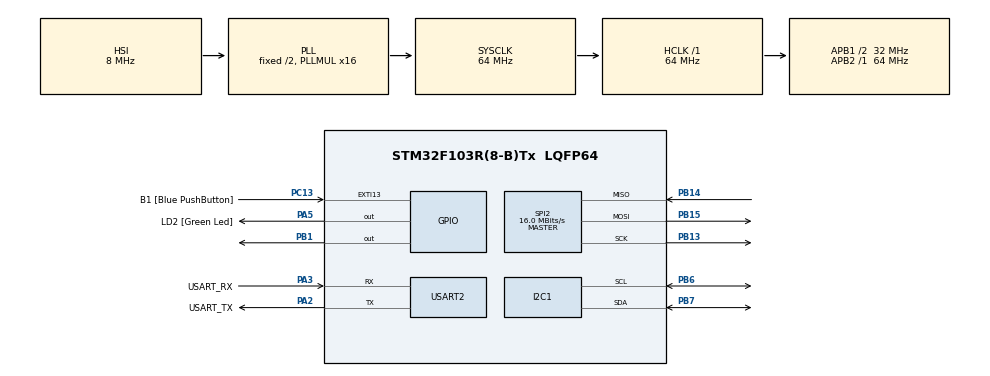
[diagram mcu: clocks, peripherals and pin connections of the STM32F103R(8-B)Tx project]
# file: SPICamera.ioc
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Mcu.Family=STM32F1
Mcu.Name=STM32F103R(8-B)Tx
Mcu.Package=LQFP64
NVIC.EXTI15_10_IRQn=true\:0\:0\:false\:false\:true\:true\:true\:true
NVIC.PriorityGroup=NVIC_PRIORITYGROUP_4
PA13.GPIO_Label=TMS
PA13.Mode=Serial_Wire
PA13.Signal=SYS_JTMS-SWDIO
PA14.GPIO_Label=TCK
PA14.Mode=Serial_Wire
PA14.Signal=SYS_JTCK-SWCLK
PA2.GPIO_Label=USART_TX
PA2.GPIO_Mode=GPIO_MODE_AF_PP
PA2.GPIO_PuPd=GPIO_NOPULL
PA2.GPIO_Speed=GPIO_SPEED_FREQ_LOW
PA2.Mode=Asynchronous
PA2.Signal=USART2_TX
PA3.GPIO_Label=USART_RX
PA3.GPIO_Mode=GPIO_MODE_AF_PP
PA3.GPIO_PuPd=GPIO_NOPULL
PA3.GPIO_Speed=GPIO_SPEED_FREQ_LOW
PA3.Mode=Asynchronous
PA3.Signal=USART2_RX
PA5.GPIO_Label=LD2 [Green Led]
PA5.GPIO_ModeDefaultOutputPP=GPIO_MODE_OUTPUT_PP
PA5.GPIO_PuPd=GPIO_NOPULL
PA5.GPIO_Speed=GPIO_SPEED_FREQ_LOW
PA5.Signal=GPIO_Output
PB1.Signal=GPIO_Output
PB13.Mode=Full_Duplex_Master
PB13.Signal=SPI2_SCK
PB14.Mode=Full_Duplex_Master
PB14.Signal=SPI2_MISO
PB15.Mode=Full_Duplex_Master
PB15.Signal=SPI2_MOSI
PB3.GPIO_Label=SWO
PB3.Signal=SYS_JTDO-TRACESWO
PB6.Mode=I2C
PB6.Signal=I2C1_SCL
PB7.Mode=I2C
PB7.Signal=I2C1_SDA
PC13-TAMPER-RTC.GPIO_Label=B1 [Blue PushButton]
PC13-TAMPER-RTC.GPIO_PuPd=GPIO_NOPULL
PC13-TAMPER-RTC.Signal=GPXTI13
PC14-OSC32_IN.Mode=LSE-External-Oscillator
PC14-OSC32_IN.Signal=RCC_OSC32_IN
PC15-OSC32_OUT.Mode=LSE-External-Oscillator
PC15-OSC32_OUT.Signal=RCC_OSC32_OUT
PD0-OSC_IN.Mode=HSE-External-Clock-Source
PD0-OSC_IN.Signal=RCC_OSC_IN
PD1-OSC_OUT.Mode=HSE-External-Clock-Source
PD1-OSC_OUT.Signal=RCC_OSC_OUT
ProjectManager.HeapSize=0x200
ProjectManager.StackSize=0x400
ProjectManager.TargetToolchain=STM32CubeIDE
RCC.AHBFreq_Value=64000000
RCC.APB1CLKDivider=RCC_HCLK_DIV2
RCC.APB1Freq_Value=32000000
RCC.APB1TimFreq_Value=64000000
RCC.APB2Freq_Value=64000000
RCC.APB2TimFreq_Value=64000000
RCC.HCLKFreq_Value=64000000
RCC.PLLMUL=RCC_PLL_MUL16
RCC.RTCClockSelection=RCC_RTCCLKSOURCE_LSE
RCC.SYSCLKFreq_VALUE=64000000
RCC.SYSCLKSource=RCC_SYSCLKSOURCE_PLLCLK
RCC.USBFreq_Value=64000000
SPI2.CalculateBaudRate=16.0 MBits/s
SPI2.Direction=SPI_DIRECTION_2LINES
SPI2.Mode=SPI_MODE_MASTER
SPI2.VirtualType=VM_MASTER
USART2.VirtualMode=VM_ASYNC
board=NUCLEO-F103RB

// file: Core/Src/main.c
/* USER CODE BEGIN Header */
/**
 ******************************************************************************
 * @file           : main.c
 * @brief          : Main program body
 ******************************************************************************
 * @attention
 *
 * Copyright (c) 2023 STMicroelectronics.
 * All rights reserved.
 *
 * This software is licensed under terms that can be found in the LICENSE file
 * in the root directory of this software component.
 * If no LICENSE file comes with this software, it is provided AS-IS.
 *
 ******************************************************************************
 */
/* USER CODE END Header */
#include "main.h"
#include <string.h>
#include <stdlib.h>
#include <math.h>
#include <ov2640_regs.h>

/* USER CODE BEGIN PTD */
#define BMP 	0
#define JPEG	1
#define RAW	  2

#define Auto                 0
#define Sunny                1
#define Cloudy               2
#define Office               3
#define Home                 4

//Special effects

#define Antique                      0
#define Bluish                       1
#define Greenish                     2
#define Reddish                      3
#define BW                           4
#define Negative                     5
#define BWnegative                   6
#define Normal                       7
#define Sepia                        8
#define Overexposure                 9
#define Solarize                     10
#define  Blueish                     11
#define Yellowish                    12

#define OV2640_160x120 		0	//160x120
#define OV2640_176x144 		1	//176x144
#define OV2640_320x240 		2	//320x240
#define OV2640_352x288 		3	//352x288
#define OV2640_640x480		4	//640x480
#define OV2640_800x600 		5	//800x600
#define OV2640_1024x768		6	//1024x768
#define OV2640_1280x1024	7	//1280x1024
#define OV2640_1600x1200	8	//1600x1200

uint8_t format = RAW;
uint8_t resolution = OV2640_160x120;
uint8_t Light_Mode = Auto;
/* USER CODE END PTD */

/* USER CODE BEGIN PD */
static const uint8_t CLPD_reg = 0x07;
static const uint8_t test_reg = 0x00;
static const uint8_t Sensor_interface_timing_reg = 0x02;
static const uint16_t Sensor_addr_write = 0x60;
static const uint16_t Sensor_addr_read = 0x61;
static const uint16_t OV2640_CHIPID_HIGH = 0x0A;
static const uint16_t OV2640_CHIPID_LOW = 0x0B;

#define ARDUCHIP_FIFO      		0x04  //FIFO and I2C control
#define FIFO_CLEAR_MASK    		0x01
#define FIFO_START_MASK    		0x02

#define FIFO_SIZE1				0x42  //Camera write FIFO size[7:0] for burst to read
#define FIFO_SIZE2				0x43  //Camera write FIFO size[15:8]
#define FIFO_SIZE3				0x44  //Camera write FIFO size[18:16]
#define MAX_FIFO_SIZE			0x7FFFFF		//8MByte

#define BURST_FIFO_READ			0x3C  //Burst FIFO read operation
#define SINGLE_FIFO_READ		0x3D  //Single FIFO read operation

#define ARDUCHIP_TRIG      		0x41  //Trigger source
#define CAP_DONE_MASK      		0x08

int capture = 0;

/* USER CODE END PD */

/* USER CODE BEGIN PM */
#define pgm_read_word(x)        ( ((*((unsigned char *)x + 1)) << 8) + (*((unsigned char *)x)))
/* USER CODE END PM */

I2C_HandleTypeDef hi2c1;

SPI_HandleTypeDef hspi2;

UART_HandleTypeDef huart2;

/* USER CODE BEGIN PV */
uint8_t count = 0;

/* USER CODE END PV */

void SystemClock_Config(void);
static void MX_GPIO_Init(void);
static void MX_USART2_UART_Init(void);
static void MX_I2C1_Init(void);
static void MX_SPI2_Init(void);

/* USER CODE BEGIN 0 */
void newline() {
	uint8_t buf[12];
	strcpy((char*) buf, "	\r\n");
	HAL_UART_Transmit(&huart2, buf, strlen((char*) buf), 100);
	memset(buf, 0, sizeof(buf));
}
void print_string(const char *a) {
	uint8_t buf[100];
	strncpy((char*) buf, a, sizeof(buf));
	buf[sizeof(buf) - 1] = '\0';
	HAL_UART_Transmit(&huart2, (uint8_t*) buf, strlen((char*) buf), 100);
	memset(buf, 0, sizeof(buf));
}

void space() {
	uint8_t buf[12];
	strcpy((char*) buf, "	");
	HAL_UART_Transmit(&huart2, buf, strlen((char*) buf), 100);
	memset(buf, 0, sizeof(buf));
}

void print_hex(char h) {
	int i;
	char nibble;
	for (i = 1; i >= 0; i--) {
		nibble = ((h >> (4 * i)) & 0x0F);
		if (nibble < 10) { //decimal number
			nibble += 48;
			HAL_UART_Transmit(&huart2, (uint8_t*) &nibble, sizeof(nibble), 10);
		} else { //letter
			nibble += 55;
			HAL_UART_Transmit(&huart2, (uint8_t*) &nibble, sizeof(nibble), 10);
		}
	}
	//space();
	//memset(nibble, 0, sizeof(nibble));
}

void print_decimal(const long long data, const unsigned char len) {
	int i;
	char nibble;
	for (i = (len - 1); i >= 0; i--) {
		nibble = ((int) (data / pow(10, i)) % 10) + 48;
		HAL_UART_Transmit(&huart2, (uint8_t*) &nibble, sizeof(nibble), 10);
	}
}

void send_buffer(uint8_t *buffer, uint32_t buffer_length) {
	for (int i = 0; i < buffer_length; i++) {
		//HAL_UART_Transmit(&huart2, &buffer[i], 1, HAL_MAX_DELAY);
		print_hex(buffer[i]);
	}
}

void count_init() {
	count++;
	print_decimal(count, 3);
	space();
}

char SPI_Read(uint8_t address) {
	char data;
	address = address & 0x7F;
	HAL_GPIO_WritePin(GPIOB, GPIO_PIN_1, GPIO_PIN_SET);
	HAL_GPIO_WritePin(GPIOB, GPIO_PIN_1, GPIO_PIN_RESET);
	HAL_SPI_Transmit(&hspi2, (uint8_t*) &(address), 1, 100);
	HAL_SPI_Receive(&hspi2, (uint8_t*) &data, 1, 100);
	HAL_GPIO_WritePin(GPIOB, GPIO_PIN_1, GPIO_PIN_SET);
	return data;
}

void Read_SPI_Regs(uint8_t start_add, uint8_t end_add) {
	uint8_t i;;
	for(i = start_add; i <= end_add; i++){
		print_hex(i);
		print_string(": ");
		print_hex(SPI_Read(i));
		newline();
	}
}

char SPI_Transfer_FIFO(uint8_t address) {
	char data;
	address = address & 0x7F;
	HAL_SPI_TransmitReceive(&hspi2, (uint8_t*) &(address), (uint8_t*) &data, 1,
			100);
	return data;
}

void SPI_Write(uint8_t address, uint8_t data) {
	address = address | 0x80;
	HAL_GPIO_WritePin(GPIOB, GPIO_PIN_1, GPIO_PIN_SET);
	HAL_GPIO_WritePin(GPIOB, GPIO_PIN_1, GPIO_PIN_RESET);
	HAL_SPI_Transmit(&hspi2, (uint8_t*) &(address), 1, 100);
	HAL_SPI_Transmit(&hspi2, (uint8_t*) &(data), 1, 100);
	HAL_GPIO_WritePin(GPIOB, GPIO_PIN_1, GPIO_PIN_SET);
}

char I2C_Read(uint16_t address, uint16_t reg) {
	uint8_t data;
	HAL_I2C_Mem_Read(&hi2c1, address, reg & 0x00FF, 1, &data, 1, 1000);
	return data;
}

void I2C_Write(uint16_t address, uint16_t reg, uint8_t data) {
	data = data & 0x00FF;
	HAL_I2C_Mem_Write(&hi2c1, address, reg & 0x00FF, 1, &data, 1, 1000);
}

void I2C_Write_sensor_reg(const struct sensor_reg reglist[]) {
	uint16_t reg_addr = 0;
	uint16_t reg_val = 0;
	const struct sensor_reg *next = reglist;
	while ((reg_addr != 0xff) | (reg_val != 0xff)) {
		reg_addr = pgm_read_word(&next->reg);
		reg_val = pgm_read_word(&next->val);
		I2C_Write(Sensor_addr_write, reg_addr, reg_val);
//	    print_hex(reg_addr);
//	    print_string(": ");
//	    print_hex(I2C_Read(Sensor_addr_read, reg_addr));
//	    newline();
		next++;
	}
}

void OV2640_set_JPEG_size(uint8_t size) {
	switch (size) {
	case OV2640_160x120:
		I2C_Write_sensor_reg(OV2640_160x120_JPEG);
		break;
	case OV2640_176x144:
		I2C_Write_sensor_reg(OV2640_176x144_JPEG);
		break;
	case OV2640_320x240:
		I2C_Write_sensor_reg(OV2640_320x240_JPEG);
		break;
	case OV2640_352x288:
		I2C_Write_sensor_reg(OV2640_352x288_JPEG);
		break;
	case OV2640_640x480:
		I2C_Write_sensor_reg(OV2640_640x480_JPEG);
		break;
	case OV2640_800x600:
		I2C_Write_sensor_reg(OV2640_800x600_JPEG);
		break;
	case OV2640_1024x768:
		I2C_Write_sensor_reg(OV2640_1024x768_JPEG);
		break;
	case OV2640_1280x1024:
		I2C_Write_sensor_reg(OV2640_1280x1024_JPEG);
		break;
	case OV2640_1600x1200:
		I2C_Write_sensor_reg(OV2640_1600x1200_JPEG);
		break;
	default:
		I2C_Write_sensor_reg(OV2640_320x240_JPEG);
		break;
	}
}

void OV2640_set_Light_Mode(uint8_t Light_Mode) {
	switch (Light_Mode) {

	case Auto:
		I2C_Write(Sensor_addr_write, 0xff, 0x00);
		I2C_Write(Sensor_addr_write, 0xc7, 0x00); //AWB on
		break;
	case Sunny:
		I2C_Write(Sensor_addr_write, 0xff, 0x00);
		I2C_Write(Sensor_addr_write, 0xc7, 0x40); //AWB off
		I2C_Write(Sensor_addr_write, 0xcc, 0x5e);
		I2C_Write(Sensor_addr_write, 0xcd, 0x41);
		I2C_Write(Sensor_addr_write, 0xce, 0x54);
		break;
	case Cloudy:
		I2C_Write(Sensor_addr_write, 0xff, 0x00);
		I2C_Write(Sensor_addr_write, 0xc7, 0x40); //AWB off
		I2C_Write(Sensor_addr_write, 0xcc, 0x65);
		I2C_Write(Sensor_addr_write, 0xcd, 0x41);
		I2C_Write(Sensor_addr_write, 0xce, 0x4f);
		break;
	case Office:
		I2C_Write(Sensor_addr_write, 0xff, 0x00);
		I2C_Write(Sensor_addr_write, 0xc7, 0x40); //AWB off
		I2C_Write(Sensor_addr_write, 0xcc, 0x52);
		I2C_Write(Sensor_addr_write, 0xcd, 0x41);
		I2C_Write(Sensor_addr_write, 0xce, 0x66);
		break;
	case Home:
		I2C_Write(Sensor_addr_write, 0xff, 0x00);
		I2C_Write(Sensor_addr_write, 0xc7, 0x40); //AWB off
		I2C_Write(Sensor_addr_write, 0xcc, 0x42);
		I2C_Write(Sensor_addr_write, 0xcd, 0x3f);
		I2C_Write(Sensor_addr_write, 0xce, 0x71);
		break;
	default:
		I2C_Write(Sensor_addr_write, 0xff, 0x00);
		I2C_Write(Sensor_addr_write, 0xc7, 0x00); //AWB on
		break;
	}
}

void OV2640_set_Special_effects(uint8_t Special_effect) {
	switch (Special_effect) {
	case Antique:
		I2C_Write(Sensor_addr_write, 0xff, 0x00);
		I2C_Write(Sensor_addr_write, 0x7c, 0x00);
		I2C_Write(Sensor_addr_write, 0x7d, 0x18);
		I2C_Write(Sensor_addr_write, 0x7c, 0x05);
		I2C_Write(Sensor_addr_write, 0x7d, 0x40);
		I2C_Write(Sensor_addr_write, 0x7d, 0xa6);
		break;
	case Bluish:
		I2C_Write(Sensor_addr_write, 0xff, 0x00);
		I2C_Write(Sensor_addr_write, 0x7c, 0x00);
		I2C_Write(Sensor_addr_write, 0x7d, 0x18);
		I2C_Write(Sensor_addr_write, 0x7c, 0x05);
		I2C_Write(Sensor_addr_write, 0x7d, 0xa0);
		I2C_Write(Sensor_addr_write, 0x7d, 0x40);
		break;
	case Greenish:
		I2C_Write(Sensor_addr_write, 0xff, 0x00);
		I2C_Write(Sensor_addr_write, 0x7c, 0x00);
		I2C_Write(Sensor_addr_write, 0x7d, 0x18);
		I2C_Write(Sensor_addr_write, 0x7c, 0x05);
		I2C_Write(Sensor_addr_write, 0x7d, 0x40);
		I2C_Write(Sensor_addr_write, 0x7d, 0x40);
		break;
	case Reddish:
		I2C_Write(Sensor_addr_write, 0xff, 0x00);
		I2C_Write(Sensor_addr_write, 0x7c, 0x00);
		I2C_Write(Sensor_addr_write, 0x7d, 0x18);
		I2C_Write(Sensor_addr_write, 0x7c, 0x05);
		I2C_Write(Sensor_addr_write, 0x7d, 0x40);
		I2C_Write(Sensor_addr_write, 0x7d, 0xc0);
		break;
	case BW:
		I2C_Write(Sensor_addr_write, 0xff, 0x00);
		I2C_Write(Sensor_addr_write, 0x7c, 0x00);
		I2C_Write(Sensor_addr_write, 0x7d, 0x18);
		I2C_Write(Sensor_addr_write, 0x7c, 0x05);
		I2C_Write(Sensor_addr_write, 0x7d, 0x80);
		I2C_Write(Sensor_addr_write, 0x7d, 0x80);
		break;
	case Negative:
		I2C_Write(Sensor_addr_write, 0xff, 0x00);
		I2C_Write(Sensor_addr_write, 0x7c, 0x00);
		I2C_Write(Sensor_addr_write, 0x7d, 0x40);
		I2C_Write(Sensor_addr_write, 0x7c, 0x05);
		I2C_Write(Sensor_addr_write, 0x7d, 0x80);
		I2C_Write(Sensor_addr_write, 0x7d, 0x80);
		break;
	case BWnegative:
		I2C_Write(Sensor_addr_write, 0xff, 0x00);
		I2C_Write(Sensor_addr_write, 0x7c, 0x00);
		I2C_Write(Sensor_addr_write, 0x7d, 0x58);
		I2C_Write(Sensor_addr_write, 0x7c, 0x05);
		I2C_Write(Sensor_addr_write, 0x7d, 0x80);
		I2C_Write(Sensor_addr_write, 0x7d, 0x80);
		break;
	case Normal:
		I2C_Write(Sensor_addr_write, 0xff, 0x00);
		I2C_Write(Sensor_addr_write, 0x7c, 0x00);
		I2C_Write(Sensor_addr_write, 0x7d, 0x00);
		I2C_Write(Sensor_addr_write, 0x7c, 0x05);
		I2C_Write(Sensor_addr_write, 0x7d, 0x80);
		I2C_Write(Sensor_addr_write, 0x7d, 0x80);
		break;
	}
}

void InitCAM() {
	I2C_Write(Sensor_addr_write, 0xFF, 0x01);
	//	print_string("0xFF: ");
	//	print_hex(I2C_Read(Sensor_addr_read, 0xFF));
	I2C_Write(Sensor_addr_write, 0x12, 0x80);	//reset common control
	HAL_Delay(100);
	if (format == JPEG) {
		//		print_string("OV2640_JPEG_INIT");
		//		newline();
		I2C_Write_sensor_reg(OV2640_JPEG_INIT);
		I2C_Write_sensor_reg(OV2640_YUV422);
		I2C_Write_sensor_reg(OV2640_JPEG);
		I2C_Write(Sensor_addr_write, 0xff, 0x01);
		I2C_Write(Sensor_addr_write, 0x15, 0x00);
		I2C_Write_sensor_reg(OV2640_320x240_JPEG);
	} else {
		I2C_Write_sensor_reg(OV2640_QVGA);
	}
}

int OV2640_init() {
	//Reset CPLD
	SPI_Write(CLPD_reg, 0x80);
	SPI_Write(CLPD_reg, 0x00);
	// Check if the ArduCAM SPI bus is OK
	SPI_Write(test_reg, 0x55);
//	print_string("test reg: ");
//	print_hex(SPI_Read(test_reg));
	if (SPI_Read(test_reg) != 0x55) {
		return 0;
	}
	//change MCU to display LCD
	SPI_Write(Sensor_interface_timing_reg, 0x00);
	//	  print_string("Sensor_interface_timing_reg: ");
	//	  print_hex(SPI_Read(Sensor_interface_timing_reg));
	//check if its the OV2640
	// Check if the camera module type is OV2640
	I2C_Write(Sensor_addr_write, 0xFF, 0x01);
	//	  	print_string("sensor write: ");
	//	  	print_hex(I2C_Read(Sensor_addr_read, 0xFF));
	uint8_t vid, pid;
	vid = I2C_Read(Sensor_addr_read, OV2640_CHIPID_HIGH);
	pid = I2C_Read(Sensor_addr_read, OV2640_CHIPID_LOW);
	if ((vid != 0x26) && ((pid != 0x41) || (pid != 0x42))) {
		return 0;
	}
//	print_string("vid: ");
//	print_hex(vid);
//	print_string("pid: ");
//	print_hex(pid);

	InitCAM();
	OV2640_set_JPEG_size(resolution);
	OV2640_set_Light_Mode(Light_Mode);
	OV2640_set_Special_effects(Normal);
	HAL_Delay(1000);
	return 1;
}

void start_capture() {
	print_string("Starting image capture...");
	newline();
	SPI_Write(ARDUCHIP_FIFO, FIFO_CLEAR_MASK);	//flush_fifo
	//print_hex(SPI_Read(ARDUCHIP_FIFO));
	SPI_Write(ARDUCHIP_FIFO, FIFO_CLEAR_MASK);	//clear fifo_flag
	//print_hex(SPI_Read(ARDUCHIP_FIFO));
	SPI_Write(ARDUCHIP_FIFO, FIFO_START_MASK);	//start capture
	//print_hex(SPI_Read(ARDUCHIP_FIFO));
	print_string("Image capture started!");
	newline();
}

int capture_ready() {
	uint8_t temp;
	temp = SPI_Read(ARDUCHIP_TRIG);
	temp = temp & CAP_DONE_MASK;
	return temp;
}

uint32_t read_fifo_length() {
	uint32_t len1, len2, len3, length = 0;
	len1 = SPI_Read(FIFO_SIZE1);
	len2 = SPI_Read(FIFO_SIZE2);
	len3 = SPI_Read(FIFO_SIZE3) & 0x7f;
	length = ((len3 << 16) | (len2 << 8) | len1) & 0x07fffff;
	return length;
}

int read_image_to_buffer(uint8_t **buffer, uint32_t *buffer_length) {
	if (!capture_ready()) {
		print_string("Image capture not ready\r\n");
		return 0;
	} else {
		print_string("Reading image to buffer...\r\n");
	}

	// Get the image file length
	uint32_t length = read_fifo_length();
	*buffer_length = length;

	if (length >= MAX_FIFO_SIZE) {
		print_string("length larger than MAX_FIFO_SIZE, buffer length: ");
		print_hex(length);
		return 0;
	}
	if (length == 0) {
		print_string("length is 0, buffer length: ");
		print_hex(length);
		return 0;
	}

	// create the buffer
	uint8_t *buf = (uint8_t*) malloc(length * sizeof(uint8_t));

	uint8_t temp = 0;

	HAL_GPIO_WritePin(GPIOB, GPIO_PIN_1, GPIO_PIN_RESET);
	SPI_Transfer_FIFO(BURST_FIFO_READ);

	while (length--) {
		temp = SPI_Transfer_FIFO(0x00);
		//Read JPEG data from FIFO
		print_hex(temp);
	}

	SPI_Write(ARDUCHIP_FIFO, FIFO_CLEAR_MASK);

	InitCAM();
	//OV2640_set_JPEG_size(resolution);

	// return the buffer
	*buffer = buf;

	return 1;
}

/* USER CODE END 0 */

int main(void) {

	/* MCU Configuration--------------------------------------------------------*/

	/* Reset of all peripherals, Initializes the Flash interface and the Systick. */
	HAL_Init();

	/* Configure the system clock */
	SystemClock_Config();

	/* Initialize all configured peripherals */
	MX_GPIO_Init();
	MX_USART2_UART_Init();
	MX_I2C1_Init();
	MX_SPI2_Init();

	/* Infinite loop */
	/* USER CODE BEGIN WHILE */
	OV2640_init();
	while (!OV2640_init()) {
		print_string("OV2640 not initialized");
		newline();
		HAL_Delay(1000);
	}
	capture = 1;
	print_string("OV2640 initialized");
	newline();
	Read_SPI_Regs(0x00, 0x48);
	while (1) {
		/* USER CODE END WHILE */
		count_init();
		newline();
		start_capture();
		while (!capture_ready()) {
			HAL_Delay(100);
			print_string("Capture is not ready...delaying...");
			newline();
		}
		print_string("Capture ready");
		newline();

		uint8_t *buffer;
		uint32_t length;

		print_string("Preparing to capture... ");
		if (read_image_to_buffer(&buffer, &length)) {
			print_string("\r\nlength: ");
			print_decimal(length, 8);
			print_string("\r\nImage read to buffer! ");
			print_string("Writing image to file...\r\n");
			//send_buffer(buffer, length);
			print_string("\r\nImage read to file");
		} else {
			print_string("Failed to read image");
		}

		newline();
		HAL_Delay(1000);

	}
}

void SystemClock_Config(void)
{
  RCC_OscInitTypeDef RCC_OscInitStruct = {0};
  RCC_ClkInitTypeDef RCC_ClkInitStruct = {0};

  /** Initializes the RCC Oscillators according to the specified parameters
  * in the RCC_OscInitTypeDef structure.
  */
  RCC_OscInitStruct.OscillatorType = RCC_OSCILLATORTYPE_HSI;
  RCC_OscInitStruct.HSIState = RCC_HSI_ON;
  RCC_OscInitStruct.HSICalibrationValue = RCC_HSICALIBRATION_DEFAULT;
  RCC_OscInitStruct.PLL.PLLState = RCC_PLL_ON;
  RCC_OscInitStruct.PLL.PLLSource = RCC_PLLSOURCE_HSI_DIV2;
  RCC_OscInitStruct.PLL.PLLMUL = RCC_PLL_MUL16;
  if (HAL_RCC_OscConfig(&RCC_OscInitStruct) != HAL_OK)
  {
    Error_Handler();
  }

  /** Initializes the CPU, AHB and APB buses clocks
  */
  RCC_ClkInitStruct.ClockType = RCC_CLOCKTYPE_HCLK|RCC_CLOCKTYPE_SYSCLK
                              |RCC_CLOCKTYPE_PCLK1|RCC_CLOCKTYPE_PCLK2;
  RCC_ClkInitStruct.SYSCLKSource = RCC_SYSCLKSOURCE_PLLCLK;
  RCC_ClkInitStruct.AHBCLKDivider = RCC_SYSCLK_DIV1;
  RCC_ClkInitStruct.APB1CLKDivider = RCC_HCLK_DIV2;
  RCC_ClkInitStruct.APB2CLKDivider = RCC_HCLK_DIV1;

  if (HAL_RCC_ClockConfig(&RCC_ClkInitStruct, FLASH_LATENCY_2) != HAL_OK)
  {
    Error_Handler();
  }
}

static void MX_I2C1_Init(void)
{

  hi2c1.Instance = I2C1;
  hi2c1.Init.ClockSpeed = 100000;
  hi2c1.Init.DutyCycle = I2C_DUTYCYCLE_2;
  hi2c1.Init.OwnAddress1 = 0;
  hi2c1.Init.AddressingMode = I2C_ADDRESSINGMODE_7BIT;
  hi2c1.Init.DualAddressMode = I2C_DUALADDRESS_DISABLE;
  hi2c1.Init.OwnAddress2 = 0;
  hi2c1.Init.GeneralCallMode = I2C_GENERALCALL_DISABLE;
  hi2c1.Init.NoStretchMode = I2C_NOSTRETCH_DISABLE;
  if (HAL_I2C_Init(&hi2c1) != HAL_OK)
  {
    Error_Handler();
  }

}

static void MX_SPI2_Init(void)
{

  /* SPI2 parameter configuration*/
  hspi2.Instance = SPI2;
  hspi2.Init.Mode = SPI_MODE_MASTER;
  hspi2.Init.Direction = SPI_DIRECTION_2LINES;
  hspi2.Init.DataSize = SPI_DATASIZE_8BIT;
  hspi2.Init.CLKPolarity = SPI_POLARITY_LOW;
  hspi2.Init.CLKPhase = SPI_PHASE_1EDGE;
  hspi2.Init.NSS = SPI_NSS_SOFT;
  hspi2.Init.BaudRatePrescaler = SPI_BAUDRATEPRESCALER_2;
  hspi2.Init.FirstBit = SPI_FIRSTBIT_MSB;
  hspi2.Init.TIMode = SPI_TIMODE_DISABLE;
  hspi2.Init.CRCCalculation = SPI_CRCCALCULATION_DISABLE;
  hspi2.Init.CRCPolynomial = 10;
  if (HAL_SPI_Init(&hspi2) != HAL_OK)
  {
    Error_Handler();
  }

}

static void MX_USART2_UART_Init(void)
{

  huart2.Instance = USART2;
  huart2.Init.BaudRate = 115200;
  huart2.Init.WordLength = UART_WORDLENGTH_8B;
  huart2.Init.StopBits = UART_STOPBITS_1;
  huart2.Init.Parity = UART_PARITY_NONE;
  huart2.Init.Mode = UART_MODE_TX_RX;
  huart2.Init.HwFlowCtl = UART_HWCONTROL_NONE;
  huart2.Init.OverSampling = UART_OVERSAMPLING_16;
  if (HAL_UART_Init(&huart2) != HAL_OK)
  {
    Error_Handler();
  }

}

static void MX_GPIO_Init(void)
{
  GPIO_InitTypeDef GPIO_InitStruct = {0};

  /* GPIO Ports Clock Enable */
  __HAL_RCC_GPIOC_CLK_ENABLE();
  __HAL_RCC_GPIOD_CLK_ENABLE();
  __HAL_RCC_GPIOA_CLK_ENABLE();
  __HAL_RCC_GPIOB_CLK_ENABLE();

  /*Configure GPIO pin Output Level */
  HAL_GPIO_WritePin(LD2_GPIO_Port, LD2_Pin, GPIO_PIN_RESET);

  /*Configure GPIO pin Output Level */
  HAL_GPIO_WritePin(GPIOB, GPIO_PIN_1, GPIO_PIN_RESET);

  /*Configure GPIO pin : B1_Pin */
  GPIO_InitStruct.Pin = B1_Pin;
  GPIO_InitStruct.Mode = GPIO_MODE_IT_RISING;
  GPIO_InitStruct.Pull = GPIO_NOPULL;
  HAL_GPIO_Init(B1_GPIO_Port, &GPIO_InitStruct);

  /*Configure GPIO pin : LD2_Pin */
  GPIO_InitStruct.Pin = LD2_Pin;
  GPIO_InitStruct.Mode = GPIO_MODE_OUTPUT_PP;
  GPIO_InitStruct.Pull = GPIO_NOPULL;
  GPIO_InitStruct.Speed = GPIO_SPEED_FREQ_LOW;
  HAL_GPIO_Init(LD2_GPIO_Port, &GPIO_InitStruct);

  /*Configure GPIO pin : PB1 */
  GPIO_InitStruct.Pin = GPIO_PIN_1;
  GPIO_InitStruct.Mode = GPIO_MODE_OUTPUT_PP;
  GPIO_InitStruct.Pull = GPIO_NOPULL;
  GPIO_InitStruct.Speed = GPIO_SPEED_FREQ_LOW;
  HAL_GPIO_Init(GPIOB, &GPIO_InitStruct);

  /* EXTI interrupt init*/
  HAL_NVIC_SetPriority(EXTI15_10_IRQn, 0, 0);
  HAL_NVIC_EnableIRQ(EXTI15_10_IRQn);

}

void Error_Handler(void)
{
	__disable_irq();
	while (1) {
	}
}
